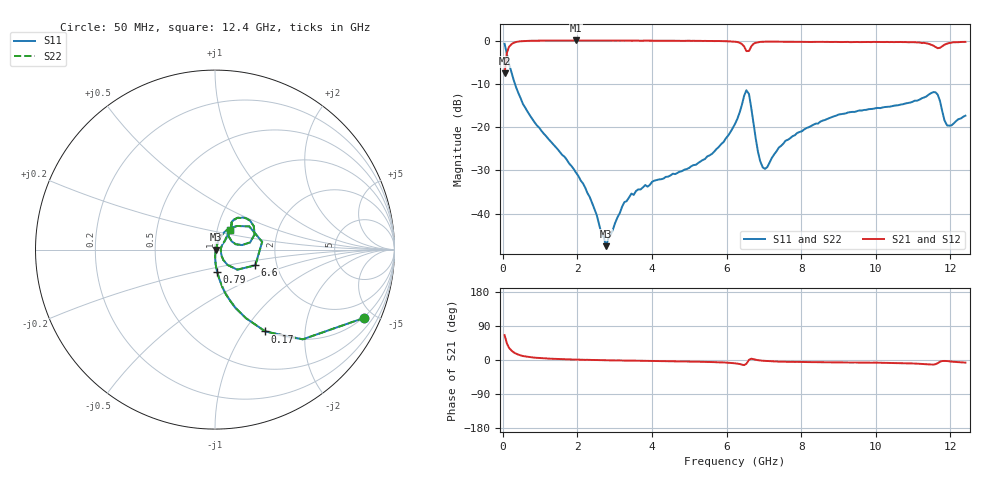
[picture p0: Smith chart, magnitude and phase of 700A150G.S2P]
!  American Technical Ceramics  Date:  3/13/98
!  One Norden Lane
!  Huntington Station,  NY.  11746-2102
!  Tel:  (516) 547-5700  Fax:  (516) 547-5748
!  Part Number  700A150G
!  Description: Porcelain, High Q, Low ESR
!  Application: Bypass, Coupling, Timing, Feedback
!  Tuning, Impedance Match, Blocking
# GHZ S DB R 50
! Freq  |S11|  S11 Ph  |S21|  S21 Ph  |S12|  S12 Ph  |S22|  S22 Ph
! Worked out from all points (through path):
!   201 points, 50 MHz to 12.4 GHz, reference 50 ohm
!   highest |S21| = 0.01 dB at 1.96 GHz (marker M1); lowest = -7.6 dB at 50 MHz (marker M2)
!   group delay of S21, straight-line fit = 4.15 ps
!   lowest |S11| = -47.5 dB at 2.77 GHz (marker M3), VSWR 1.01, Z = 50.4 - j0.101 ohm
!   |S11| at or under -10 dB: 326.7 MHz to end of sweep
!   |S22| runs from -47.5 to -0.8 dB; largest |S21 - S12| = 0
!   S11 on the Smith chart (normalised r, x): 50 MHz: 0.94, -4.41; 170 MHz: 0.98, -1.26; 790 MHz: 0.99, -0.25; 6.6 GHz: 1.55, -0.29; 12.4 GHz: 1.15, +0.25
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0.05  -0.77 -24.5  -7.60 65.8  -7.60 65.8  -0.77 -24.5
0.11  -3.11 -45.7  -2.88 43.9  -2.88 43.9  -3.11 -45.7
0.17  -5.43 -58.4  -1.44 31.8  -1.44 31.8  -5.43 -58.4
0.36  -10.85 -74.2  -0.34 16.5  -0.34 16.5  -10.85 -74.2
0.79  -18.09 -84.2  -0.06 6.9  -0.06 6.9  -18.09 -84.2
1.96  -30.46 -87.6  0.01 1.1  0.01 1.1  -30.46 -87.6
2.15  -32.98 -85.6  -0.02 0.7  -0.02 0.7  -32.98 -85.6
2.77  -47.48 -13.7  -0.01 -0.6  -0.01 -0.6  -47.48 -13.7
3.26  -37.32 55.0  -0.02 -1.5  -0.02 -1.5  -37.32 55.0
4.19  -32.07 61.6  -0.04 -2.8  -0.04 -2.8  -32.07 61.6
5.61  -26.16 68.4  -0.11 -5.4  -0.11 -5.4  -26.16 68.4
6.23  -19.18 61.9  -0.29 -8.8  -0.29 -8.8  -19.18 61.9
6.47  -12.75 34.1  -1.38 -13.4  -1.38 -13.4  -12.75 34.1
6.6  -12.36 -21.3  -2.42 0.5  -2.42 0.5  -12.36 -21.3
6.84  -25.66 -44.1  -0.41 -0.5  -0.41 -0.5  -25.66 -44.1
7.03  -29.64 0.2  -0.27 -2.3  -0.27 -2.3  -29.64 0.2
7.58  -23.14 40.4  -0.30 -4.6  -0.30 -4.6  -23.14 40.4
8.32  -19.47 49.1  -0.32 -5.5  -0.32 -5.5  -19.47 49.1
10.36  -15.28 57.7  -0.37 -7.6  -0.37 -7.6  -15.28 57.7
11.6  -11.96 31.1  -1.51 -11.0  -1.51 -11.0  -11.96 31.1
11.91  -19.61 25.0  -0.72 -2.8  -0.72 -2.8  -19.61 25.0
12.4  -17.36 52.7  -0.32 -6.8  -0.32 -6.8  -17.36 52.7
